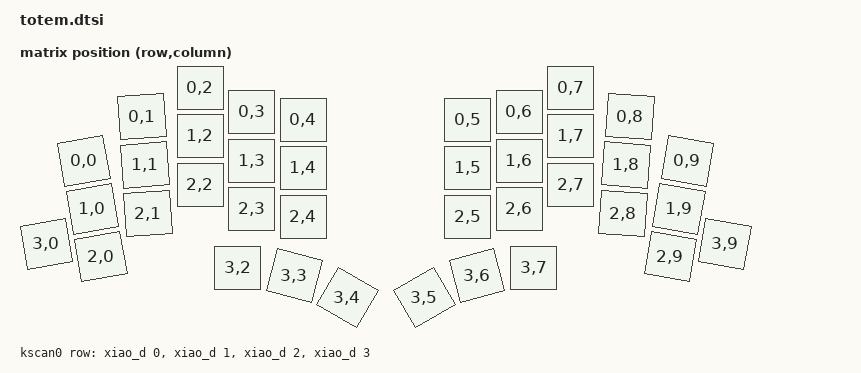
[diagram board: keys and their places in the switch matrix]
/*
 * Copyright (c) 2022 The ZMK Contributors
 *
 * SPDX-License-Identifier: MIT
 */

#include <dt-bindings/zmk/matrix_transform.h>
#include <physical_layouts.dtsi>

/ {
    chosen {
        zmk,kscan = &kscan0;
        zmk,physical-layout = &totem_layout;
    };


    totem_layout: totem_layout {
        compatible = "zmk,physical-layout";
        display-name = "TOTEM";
        transform = <&default_transform>;
        kscan = <&kscan0>;

        // Key positions taken from the project's own layout drawing,
        // docs/images/TOTEM_layout.svg, which is dimensioned in mm and
        // carries explicit per-key rotations. 1u = 17.5mm (Choc keycap
        // width), so keys are 100 x 94 units.
        keys
            = <&key_physical_attrs 100  94    85   150 (-1000)   135   197>   //  0 LP
            , <&key_physical_attrs 100  94   201    61  (-400)   251   108>   //  1 LR
            , <&key_physical_attrs 100  94   318     3       0     0     0>   //  2 LM
            , <&key_physical_attrs 100  94   421    51       0     0     0>   //  3 LI
            , <&key_physical_attrs 100  94   524    67       0     0     0>   //  4 LN
            , <&key_physical_attrs 100  94   853    67       0     0     0>   //  5 RN
            , <&key_physical_attrs 100  94   956    51       0     0     0>   //  6 RI
            , <&key_physical_attrs 100  94  1059     3       0     0     0>   //  7 RM
            , <&key_physical_attrs 100  94  1177    61     400  1227   108>   //  8 RR
            , <&key_physical_attrs 100  94  1292   150    1000  1342   197>   //  9 RP
            , <&key_physical_attrs 100  94   102   246 (-1000)   152   293>   // 10 LP
            , <&key_physical_attrs 100  94   208   158  (-400)   258   205>   // 11 LR
            , <&key_physical_attrs 100  94   318   100       0     0     0>   // 12 LM
            , <&key_physical_attrs 100  94   421   149       0     0     0>   // 13 LI
            , <&key_physical_attrs 100  94   524   164       0     0     0>   // 14 LN
            , <&key_physical_attrs 100  94   853   164       0     0     0>   // 15 RN
            , <&key_physical_attrs 100  94   956   149       0     0     0>   // 16 RI
            , <&key_physical_attrs 100  94  1059   100       0     0     0>   // 17 RM
            , <&key_physical_attrs 100  94  1170   158     400  1220   205>   // 18 RR
            , <&key_physical_attrs 100  94  1275   246    1000  1325   293>   // 19 RP
            , <&key_physical_attrs 100  94    10   316 (-1000)    60   363>   // 20 LPKY
            , <&key_physical_attrs 100  94   119   341 (-1000)   169   388>   // 21 LP
            , <&key_physical_attrs 100  94   214   255  (-400)   264   302>   // 22 LR
            , <&key_physical_attrs 100  94   318   197       0     0     0>   // 23 LM
            , <&key_physical_attrs 100  94   421   246       0     0     0>   // 24 LI
            , <&key_physical_attrs 100  94   524   261       0     0     0>   // 25 LN
            , <&key_physical_attrs 100  94   853   261       0     0     0>   // 26 RN
            , <&key_physical_attrs 100  94   956   246       0     0     0>   // 27 RI
            , <&key_physical_attrs 100  94  1059   197       0     0     0>   // 28 RM
            , <&key_physical_attrs 100  94  1163   255     400  1213   302>   // 29 RR
            , <&key_physical_attrs 100  94  1258   341    1000  1308   388>   // 30 RP
            , <&key_physical_attrs 100  94  1367   316    1000  1417   363>   // 31 RPKY
            , <&key_physical_attrs 100  94   393   364       0     0     0>   // 32 LT1
            , <&key_physical_attrs 100  94   506   379    1500   556   426>   // 33 LT2
            , <&key_physical_attrs 100  94   612   423    3000   662   470>   // 34 LT3
            , <&key_physical_attrs 100  94   766   423 (-3000)   816   470>   // 35 RT1
            , <&key_physical_attrs 100  94   871   379 (-1500)   921   426>   // 36 RT2
            , <&key_physical_attrs 100  94   985   364       0     0     0>   // 37 RT3
            ;
    };

    default_transform: keymap_transform_0 {
        compatible = "zmk,matrix-transform";
        columns = <10>;
        rows = <4>;
//             | SW01  | SW02  | SW03  | SW04  | SW05  |  | SW05  | SW04  | SW03  | SW02  | SW01  |
//             | SW06  | SW07  | SW08  | SW09  | SW10  |  | SW10  | SW09  | SW08  | SW07  | SW06  | 
//      | SW16 | SW11  | SW12  | SW13  | SW14  | SW15  |  | SW15  | SW14  | SW13  | SW12  | SW11  | SW16  |
//                             | SW17  | SW18  | SW19  |  | SW19  | SW18  | SW17  | 
        map = <
                RC(0,0) RC(0,1) RC(0,2) RC(0,3) RC(0,4)    RC(0,5) RC(0,6) RC(0,7) RC(0,8) RC(0,9)
                RC(1,0) RC(1,1) RC(1,2) RC(1,3) RC(1,4)    RC(1,5) RC(1,6) RC(1,7) RC(1,8) RC(1,9)
        RC(3,0) RC(2,0) RC(2,1) RC(2,2) RC(2,3) RC(2,4)    RC(2,5) RC(2,6) RC(2,7) RC(2,8) RC(2,9) RC(3,9)
                                RC(3,2) RC(3,3) RC(3,4)    RC(3,5) RC(3,6) RC(3,7)         
        >;
    };


    kscan0: kscan_0 {
        compatible = "zmk,kscan-gpio-matrix";
        
        diode-direction = "col2row"; 
        row-gpios
            = <&xiao_d 0 (GPIO_ACTIVE_HIGH | GPIO_PULL_DOWN)>
            , <&xiao_d 1 (GPIO_ACTIVE_HIGH | GPIO_PULL_DOWN)>
            , <&xiao_d 2 (GPIO_ACTIVE_HIGH | GPIO_PULL_DOWN)>
            , <&xiao_d 3 (GPIO_ACTIVE_HIGH | GPIO_PULL_DOWN)>
            ;
    };
};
